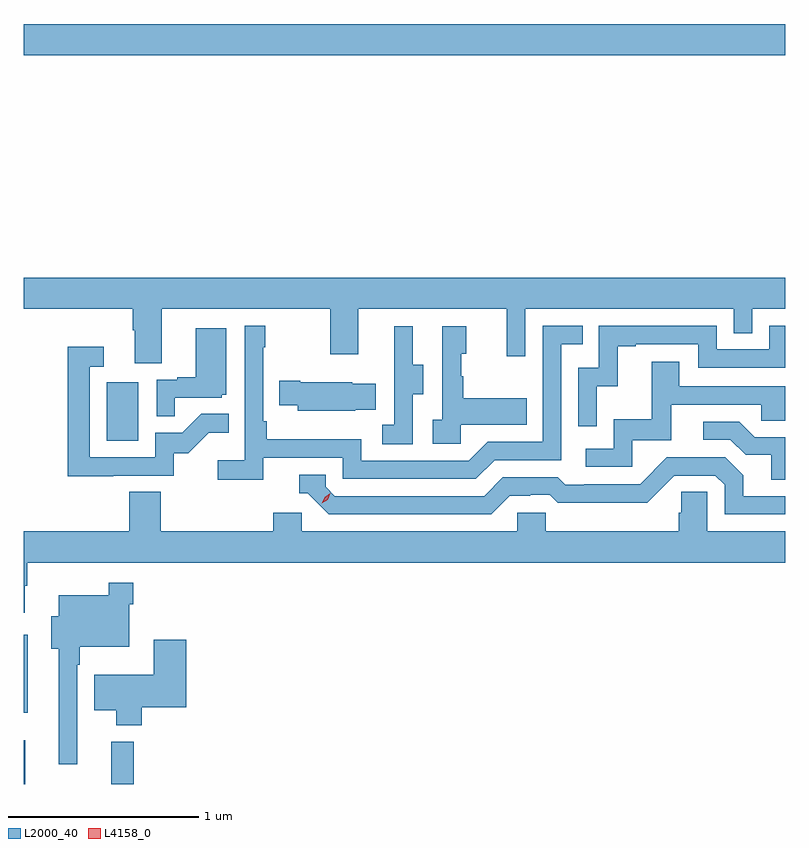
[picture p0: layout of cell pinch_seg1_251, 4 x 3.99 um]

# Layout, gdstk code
import gdstk
lib = gdstk.Library(unit=1e-6, precision=1e-09)
def R(c, l, rs):  # rectangles x0, y0, x1, y1
    for r in rs: c.add(gdstk.rectangle(r[:2], r[2:], *l))
def P(c, l, *ps):  # polygons
    for p in ps: c.add(gdstk.Polygon(p, *l))
L2000_40 = (2000, 40)
L4158_0 = (4158, 0)

pinch_seg1_251 = lib.new_cell('pinch_seg1_251')
R(pinch_seg1_251, L2000_40, [(920.793,577.209,920.801,577.438), (921.254,577.209,921.371,577.432), (920.793,577.583,920.815,577.993), (921.23,579.012,921.394,579.319), (920.793,581.036,924.793,581.2)])
P(pinch_seg1_251, L2000_40, [(921.517,579.704),(922.402,579.704),(922.402,579.465),(922.549,579.465),(922.549,579.704),(923.33,579.704),(923.33,579.456),(923.427,579.456),(923.427,579.704),(924.522,579.704),(924.522,579.577),(924.618,579.577),(924.618,579.704),(924.793,579.704),(924.793,579.868),(920.793,579.868),(920.793,579.704),(921.365,579.704),(921.365,579.592),(921.377,579.592),(921.377,579.418),(921.517,579.418)],
  [(922.052,578.922),(922.47,578.922),(922.47,578.811),(923.167,578.811),(923.266,578.91),(923.616,578.91),(923.616,579.519),(923.729,579.519),(923.729,579.615),(923.52,579.615),(923.52,579.006),(923.229,579.006),(923.13,578.907),(922.566,578.907),(922.566,579.019),(922.07,579.019),(922.07,579.115),(922.05,579.115),(922.05,579.503),(922.063,579.503),(922.063,579.616),(921.954,579.616),(921.954,578.908),(921.813,578.908),(921.813,578.806),(922.052,578.806)],
  [(923.802,579.299),(923.912,579.299),(923.912,579.507),(924.007,579.507),(924.007,579.519),(924.336,579.519),(924.336,579.396),(924.793,579.396),(924.793,579.615),(924.708,579.615),(924.708,579.492),(924.432,579.492),(924.432,579.615),(923.814,579.615),(923.814,579.396),(923.706,579.396),(923.706,579.087),(923.802,579.087)],
  [(923.088,579.095),(923.435,579.095),(923.435,579.235),(923.101,579.235),(923.101,579.35),(923.091,579.35),(923.091,579.468),(923.116,579.468),(923.116,579.613),(922.992,579.613),(922.992,579.122),(922.941,579.122),(922.941,578.997),(923.088,578.997)],
  [(922.836,579.256),(922.891,579.256),(922.891,579.411),(922.837,579.411),(922.837,579.613),(922.739,579.613),(922.739,579.399),(922.74,579.399),(922.74,579.095),(922.677,579.095),(922.677,578.992),(922.836,578.992)],
  [(921.587,579.237),(921.834,579.237),(921.834,579.252),(921.856,579.252),(921.856,579.601),(921.698,579.601),(921.698,579.346),(921.599,579.346),(921.599,579.333),(921.492,579.333),(921.492,579.139),(921.587,579.139)],
  [(921.263,578.829),(921.582,578.829),(921.582,578.946),(921.658,578.946),(921.765,579.053),(921.869,579.053),(921.869,579.152),(921.725,579.152),(921.627,579.054),(921.483,579.054),(921.483,578.925),(921.141,578.925),(921.141,579.399),(921.214,579.399),(921.214,579.505),(921.025,579.505),(921.025,578.824),(921.263,578.824)],
  [(923.988,579.015),(924.193,579.015),(924.193,579.201),(924.667,579.201),(924.667,579.117),(924.793,579.117),(924.793,579.297),(924.235,579.297),(924.235,579.427),(924.091,579.427),(924.091,579.124),(923.892,579.124),(923.892,578.97),(923.745,578.97),(923.745,578.874),(923.988,578.874)],
  [(922.535,579.173),(922.643,579.173),(922.643,579.31),(922.518,579.31),(922.518,579.319),(922.246,579.319),(922.246,579.327),(922.135,579.327),(922.135,579.197),(922.233,579.197),(922.233,579.17),(922.535,579.17)],
  [(924.793,579.03),(924.631,579.03),(924.55,579.111),(924.363,579.111),(924.363,579.018),(924.504,579.018),(924.584,578.938),(924.719,578.938),(924.719,578.806),(924.793,578.806)],
  [(923.347,578.724),(923.454,578.724),(923.454,578.727),(923.557,578.727),(923.599,578.685),(923.832,578.685),(923.832,578.687),(924.068,578.687),(924.21,578.829),(924.426,578.829),(924.474,578.781),(924.474,578.625),(924.793,578.625),(924.793,578.721),(924.571,578.721),(924.571,578.831),(924.477,578.925),(924.171,578.925),(924.03,578.784),(923.737,578.784),(923.737,578.781),(923.638,578.781),(923.599,578.82),(923.31,578.82),(923.211,578.721),(922.428,578.721),(922.38,578.769),(922.38,578.832),(922.241,578.832),(922.241,578.736),(922.284,578.736),(922.395,578.625),(923.248,578.625)],
  [(920.8,578.249),(920.812,578.249),(920.812,578.372),(924.793,578.372),(924.793,578.536),(924.384,578.536),(924.384,578.744),(924.247,578.744),(924.247,578.634),(924.233,578.634),(924.233,578.536),(923.535,578.536),(923.535,578.634),(923.385,578.634),(923.385,578.536),(922.254,578.536),(922.254,578.634),(922.103,578.634),(922.103,578.536),(921.512,578.536),(921.512,578.744),(921.347,578.744),(921.347,578.536),(920.793,578.536),(920.793,578.109),(920.8,578.109)],
  [(921.075,577.835),(921.088,577.835),(921.088,577.931),(921.348,577.931),(921.348,578.153),(921.368,578.153),(921.368,578.266),(921.24,578.266),(921.24,578.2),(920.978,578.2),(920.978,578.089),(920.939,578.089),(920.939,577.919),(920.978,577.919),(920.978,577.314),(921.075,577.314)],
  [(921.413,577.613),(921.647,577.613),(921.647,577.966),(921.476,577.966),(921.476,577.783),(921.164,577.783),(921.164,577.595),(921.278,577.595),(921.278,577.517),(921.413,577.517)])
P(pinch_seg1_251, L4158_0, [(922.358,578.682),(922.358,578.682),(922.374,578.715),(922.404,578.735),(922.404,578.735),(922.404,578.735),(922.389,578.702),(922.358,578.682)])

lib.write_gds('pinch_seg1_251.gds')
